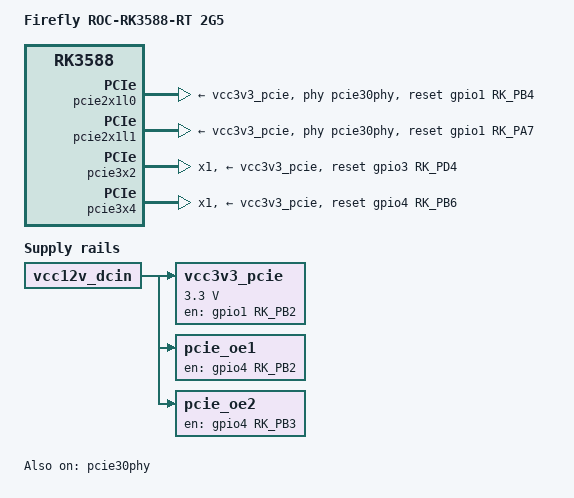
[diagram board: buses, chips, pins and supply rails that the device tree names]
// SPDX-License-Identifier: (GPL-2.0+ OR MIT)
/*
 * Copyright (c) 2023 Rockchip Electronics Co., Ltd.
 *
 */

/dts-v1/;
#define rk3588

#define FF_LEDS
#define FF_HDMI0
#define FF_HDMI1
#define FF_WATCHDOG
#define FF_SDCARD
#define FF_TYPEC0
#define FF_USB30
#define FF_USB20_HOST0
#define FF_CODEC_ES8388
#define FF_GMAC0
#define FF_GMAC1
#define FF_PCIE2_1L2 // for RTL8125
#define FF_RECOVERY_KEY
#define FF_RTC

#include "rk3588-firefly-roc-rk3588-rt.dtsi"

/ {
	model = "Firefly ROC-RK3588-RT 2G5";
	compatible = "rockchip,roc-rk3588-rt-ext-2g5e", "rockchip,rk3588";

	vcc3v3_pcie: vcc3v3-pcie {
		status = "okay";
		compatible = "regulator-fixed";
		regulator-name = "vcc3v3_pcie";
		regulator-boot-on;
		regulator-always-on;
		regulator-min-microvolt = <3300000>;
		regulator-max-microvolt = <3300000>;
		enable-active-high;
		gpio = <&gpio1 RK_PB2 GPIO_ACTIVE_HIGH>;
		startup-delay-us = <5000>;
		vin-supply = <&vcc12v_dcin>;
	};

	pcie_oe1: pcie-oe1 {
		compatible = "regulator-fixed";
		regulator-name = "pcie_oe1";
		enable-active-high;
		regulator-boot-on;
		regulator-always-on;
		gpios = <&gpio4 RK_PB2 GPIO_ACTIVE_HIGH>;
                vin-supply = <&vcc12v_dcin>;
	};

	pcie_oe2: pcie-oe2 {
		compatible = "regulator-fixed";
		regulator-name = "pcie_oe2";
		enable-active-high;
		regulator-boot-on;
		regulator-always-on;
		gpios = <&gpio4 RK_PB3 GPIO_ACTIVE_HIGH>;
                vin-supply = <&vcc12v_dcin>;
	};
};

/* pcie3.0x4 splits to 4 pcie3.0x1 */
&pcie30phy {
	rockchip,pcie30-phymode = <PHY_MODE_PCIE_NABIBI>;
	status = "okay";
};

&pcie2x1l0{
	phys = <&pcie30phy>;
	reset-gpios = <&gpio1 RK_PB4 GPIO_ACTIVE_HIGH>;
	rockchip,skip-scan-in-resume;
	vpcie3v3-supply = <&vcc3v3_pcie>;
	rockchip,perst-inactive-ms = <800>;
	status = "okay";
};

&pcie2x1l1{
	phys = <&pcie30phy>;
	reset-gpios = <&gpio1 RK_PA7 GPIO_ACTIVE_HIGH>;
	rockchip,skip-scan-in-resume;
	vpcie3v3-supply = <&vcc3v3_pcie>;
	rockchip,perst-inactive-ms = <600>;
	status = "okay";
};

&pcie3x2 {
	num-lanes = <1>;
	reset-gpios = <&gpio3 RK_PD4 GPIO_ACTIVE_HIGH>;
	vpcie3v3-supply = <&vcc3v3_pcie>;
	rockchip,skip-scan-in-resume;
	rockchip,perst-inactive-ms = <500>;
	status = "okay";
};

&pcie3x4 {
	num-lanes = <1>;
	reset-gpios = <&gpio4 RK_PB6 GPIO_ACTIVE_HIGH>;
	vpcie3v3-supply = <&vcc3v3_pcie>;
	rockchip,skip-scan-in-resume;
	rockchip,perst-inactive-ms = <700>;
	status = "okay";
};
